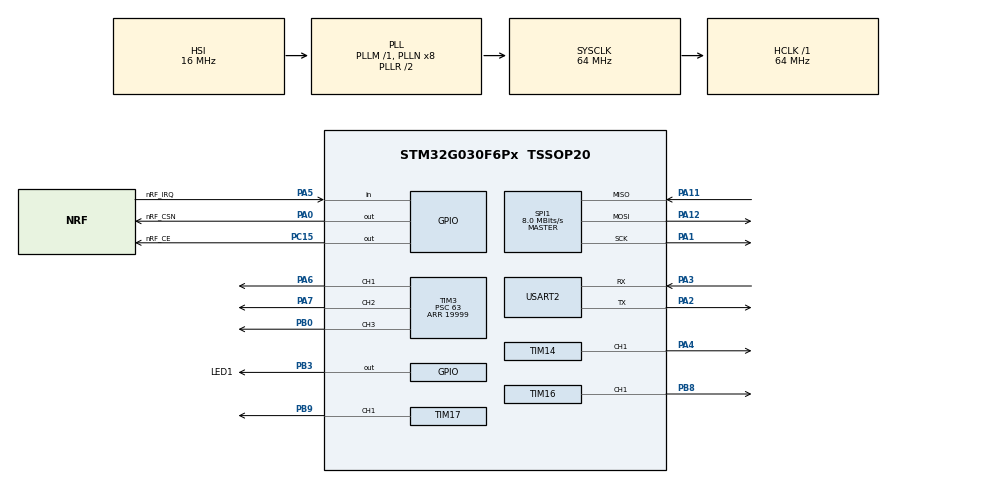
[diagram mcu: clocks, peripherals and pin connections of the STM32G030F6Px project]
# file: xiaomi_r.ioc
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Mcu.Family=STM32G0
Mcu.Name=STM32G030F6Px
Mcu.Package=TSSOP20
PA0.GPIO_Label=nRF_CSN
PA0.GPIO_PuPd=GPIO_PULLUP
PA0.Signal=GPIO_Output
PA1.Mode=Full_Duplex_Master
PA1.Signal=SPI1_SCK
PA11\ [PA9].Mode=Full_Duplex_Master
PA11\ [PA9].Signal=SPI1_MISO
PA12\ [PA10].Mode=Full_Duplex_Master
PA12\ [PA10].Signal=SPI1_MOSI
PA13.Mode=Serial_Wire
PA13.Signal=SYS_SWDIO
PA14-BOOT0.Mode=Serial_Wire
PA14-BOOT0.Signal=SYS_SWCLK
PA14-BOOT0__PA15.StandardMode=true
PA2.Mode=Asynchronous
PA2.Signal=USART2_TX
PA3.Mode=Asynchronous
PA3.Signal=USART2_RX
PA4.Signal=S_TIM14_CH1
PA5.GPIO_Label=nRF_IRQ
PA5.GPIO_PuPd=GPIO_PULLUP
PA5.Signal=GPIO_Input
PA6.Signal=S_TIM3_CH1
PA7.Signal=S_TIM3_CH2
PB0.Signal=S_TIM3_CH3
PB0__PB1__PB2__PA8.StandardMode=true
PB3.GPIO_Label=LED1
PB3.GPIO_PuPd=GPIO_PULLUP
PB3.Signal=GPIO_Output
PB3__PB4__PB5__PB6.StandardMode=true
PB7__PB8.StandardMode=true
PB8.Signal=S_TIM16_CH1
PB9.Signal=S_TIM17_CH1
PC14-OSC32_IN\ (PC14)__PB9.StandardMode=true
PC15-OSC32_OUT\ (PC15).GPIO_Label=nRF_CE
PC15-OSC32_OUT\ (PC15).GPIO_PuPd=GPIO_PULLUP
PC15-OSC32_OUT\ (PC15).Signal=GPIO_Output
ProjectManager.HeapSize=0x200
ProjectManager.StackSize=0x400
ProjectManager.TargetToolchain=MDK-ARM V5.27
RCC.ADCFreq_Value=64000000
RCC.AHBFreq_Value=64000000
RCC.CortexFreq_Value=64000000
RCC.EXTERNAL_CLOCK_VALUE=12288000
RCC.HCLKFreq_Value=64000000
RCC.HSE_VALUE=8000000
RCC.HSI_VALUE=16000000
RCC.LSE_VALUE=32768
RCC.SYSCLKFreq_VALUE=64000000
RCC.SYSCLKSource=RCC_SYSCLKSOURCE_PLLCLK
RCC.VCOOutputFreq_Value=128000000
SH.S_TIM14_CH1.0=TIM14_CH1,PWM Generation1 CH1
SH.S_TIM16_CH1.0=TIM16_CH1,PWM Generation1 CH1
SH.S_TIM17_CH1.0=TIM17_CH1,PWM Generation1 CH1
SH.S_TIM3_CH1.0=TIM3_CH1,PWM Generation1 CH1
SH.S_TIM3_CH2.0=TIM3_CH2,PWM Generation2 CH2
SH.S_TIM3_CH3.0=TIM3_CH3,PWM Generation3 CH3
SPI1.BaudRatePrescaler=SPI_BAUDRATEPRESCALER_8
SPI1.CalculateBaudRate=8.0 MBits/s
SPI1.Direction=SPI_DIRECTION_2LINES
SPI1.Mode=SPI_MODE_MASTER
SPI1.VirtualType=VM_MASTER
TIM1.AutoReloadPreload=TIM_AUTORELOAD_PRELOAD_ENABLE
TIM1.Period=9999
TIM1.Prescaler=63
TIM14.AutoReloadPreload=TIM_AUTORELOAD_PRELOAD_ENABLE
TIM14.Channel=TIM_CHANNEL_1
TIM14.Period=19999
TIM14.Prescaler=63
TIM14.Pulse=1000
TIM16.AutoReloadPreload=TIM_AUTORELOAD_PRELOAD_ENABLE
TIM16.Channel=TIM_CHANNEL_1
TIM16.Period=19999
TIM16.Prescaler=63
TIM16.Pulse=1000
TIM17.AutoReloadPreload=TIM_AUTORELOAD_PRELOAD_ENABLE
TIM17.Channel=TIM_CHANNEL_1
TIM17.Period=19999
TIM17.Prescaler=63
TIM17.Pulse=1000
TIM3.AutoReloadPreload=TIM_AUTORELOAD_PRELOAD_ENABLE
TIM3.Channel-PWM\ Generation1\ CH1=TIM_CHANNEL_1
TIM3.Channel-PWM\ Generation2\ CH2=TIM_CHANNEL_2
TIM3.Channel-PWM\ Generation3\ CH3=TIM_CHANNEL_3
TIM3.Period=19999
TIM3.Prescaler=63
TIM3.Pulse-PWM\ Generation1\ CH1=1000
TIM3.Pulse-PWM\ Generation2\ CH2=1000
TIM3.Pulse-PWM\ Generation3\ CH3=1000
USART2.VirtualMode-Asynchronous=VM_ASYNC
VP_TIM14_VS_ClockSourceINT.Mode=Enable_Timer
VP_TIM16_VS_ClockSourceINT.Mode=Enable_Timer
VP_TIM17_VS_ClockSourceINT.Mode=Enable_Timer
VP_TIM1_VS_ClockSourceINT.Mode=Internal
board=custom

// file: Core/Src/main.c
/* USER CODE BEGIN Header */
/**
  ******************************************************************************
  * @file           : main.c
  * @brief          : Main program body
  ******************************************************************************
  * @attention
  *
  * Copyright (c) 2022 STMicroelectronics.
  * All rights reserved.
  *
  * This software is licensed under terms that can be found in the LICENSE file
  * in the root directory of this software component.
  * If no LICENSE file comes with this software, it is provided AS-IS.
  *
  ******************************************************************************
  */
/* USER CODE END Header */
#include "main.h"
#include "spi.h"
#include "tim.h"
#include "usart.h"
#include "gpio.h"

/* USER CODE BEGIN PTD */
#include "stdio.h"
#include "stdarg.h"
#include "string.h"
#include "nRF24L01.h"
#include "Remote.h"
/* USER CODE END PTD */

/* USER CODE BEGIN PD */

uint8_t  tmp_buf[32] = {0};
uint8_t  temp1 = 4;
/* USER CODE END PD */

void SystemClock_Config(void);

int main(void)
{

  /* MCU Configuration--------------------------------------------------------*/

  /* Reset of all peripherals, Initializes the Flash interface and the Systick. */
  HAL_Init();

  /* Configure the system clock */
  SystemClock_Config();

  /* Initialize all configured peripherals */
  MX_GPIO_Init();
  MX_SPI1_Init();
  MX_TIM3_Init();
  MX_TIM14_Init();
  MX_TIM16_Init();
  MX_TIM17_Init();
  MX_USART2_UART_Init();
  MX_TIM1_Init();
  /* USER CODE BEGIN 2 */

  HAL_Delay(50);
  NRF24L01_Init();
  	HAL_Delay(50);
  while(NRF24L01_Check())
	{
		printf("硬件查寻不到NRF24L01无线模块\n");
 		HAL_Delay(1000);
	}
		HAL_Delay(50);
	printf("NRF24L01无线模块硬件连接正常\n");
	HAL_Delay(50);
	NRF24L01_RX_Mode();
  printf("进入数据接收模式\n");
  HAL_Delay(50);

  HAL_TIM_PWM_Start(&htim3,TIM_CHANNEL_1);
  HAL_TIM_PWM_Start(&htim3,TIM_CHANNEL_2);
  HAL_TIM_PWM_Start(&htim3,TIM_CHANNEL_3);
 //  __HAL_TIM_SetCompare(&htim3, TIM_CHANNEL_1, 1500);
  HAL_TIM_PWM_Start(&htim14,TIM_CHANNEL_1);
  HAL_TIM_PWM_Start(&htim16,TIM_CHANNEL_1);
  HAL_TIM_PWM_Start(&htim17,TIM_CHANNEL_1);

  __HAL_TIM_SetCompare(&htim3, TIM_CHANNEL_1,  1000);
  __HAL_TIM_SetCompare(&htim3, TIM_CHANNEL_2,  1000);
  __HAL_TIM_SetCompare(&htim3, TIM_CHANNEL_3,  1000);
  __HAL_TIM_SetCompare(&htim14, TIM_CHANNEL_1, 1000);
  __HAL_TIM_SetCompare(&htim16, TIM_CHANNEL_1, 1000);
  __HAL_TIM_SetCompare(&htim17, TIM_CHANNEL_1, 1000);
//
//  HAL_Delay(1000);

//  HAL_Delay(500);
  /* USER CODE END 2 */

  /* Infinite loop */
  /* USER CODE BEGIN WHILE */
  int16_t tarx=0,tary=0;
  int16_t speed1=0,speed2=0;
  while (1)
  {

		if( Remote_Receive())
    {
      tarx=Remote.ch4 -1500;
      tary=Remote.ch5 -1500;

      speed1=(tary+tarx)*2;
      speed1=speed1>=1000?1000:speed1;
      speed1=speed1<=100?0:speed1;

      speed2=(tary-tarx)*2;
      speed2=speed2>=1000?1000:speed2;
      speed2=speed2<=100?0:speed2;

      __HAL_TIM_SetCompare(&htim3, TIM_CHANNEL_2,  Remote.ch1);//1

      __HAL_TIM_SetCompare(&htim14, TIM_CHANNEL_1, Remote.ch2);
      __HAL_TIM_SetCompare(&htim3, TIM_CHANNEL_1,  Remote.ch3);

      __HAL_TIM_SetCompare(&htim3, TIM_CHANNEL_3,  speed1+1000);
      __HAL_TIM_SetCompare(&htim16, TIM_CHANNEL_1, speed2+1000);
      __HAL_TIM_SetCompare(&htim17, TIM_CHANNEL_1, Remote.ch6);
		 // printf("ch1:%d\t ch2:%d\t ch3:%d\t ch4:%d\t ch5:%d\t ch6:%d KeyL:%d  KeyR:%d\r\n",Remote.ch1,Remote.ch2,speed1,speed2,Remote.ch5,Remote.ch6,Remote.KeyStatusL,Remote.KeyStatusR);
      printf("d:%d, %d, %d, %d, %d, %d \r\n",Remote.ch1,Remote.ch2,Remote.ch3, Remote.ch4,Remote.ch5,Remote.ch6);
		  //HAL_GPIO_TogglePin(LED1_GPIO_Port,LED1_Pin);
      HAL_GPIO_WritePin(LED1_GPIO_Port,LED1_Pin,GPIO_PIN_SET);
    }
    else
    {
      HAL_GPIO_WritePin(LED1_GPIO_Port,LED1_Pin,GPIO_PIN_RESET);
    }
    HAL_Delay(5);
//      __HAL_TIM_SetCompare(&htim3, TIM_CHANNEL_1, 1200);
//      __HAL_TIM_SetCompare(&htim3, TIM_CHANNEL_2, 1200);
//      __HAL_TIM_SetCompare(&htim3, TIM_CHANNEL_3, 1200);
//      __HAL_TIM_SetCompare(&htim14, TIM_CHANNEL_1, 1200);
//      __HAL_TIM_SetCompare(&htim16, TIM_CHANNEL_1, 1200);
//      __HAL_TIM_SetCompare(&htim17, TIM_CHANNEL_1, 1200);
//    HAL_Delay(1000);
//      __HAL_TIM_SetCompare(&htim3, TIM_CHANNEL_1, 1800);
//      __HAL_TIM_SetCompare(&htim3, TIM_CHANNEL_2, 1800);
//      __HAL_TIM_SetCompare(&htim3, TIM_CHANNEL_3, 1800);
//      __HAL_TIM_SetCompare(&htim14, TIM_CHANNEL_1, 1800);
//      __HAL_TIM_SetCompare(&htim16, TIM_CHANNEL_1, 1800);
//      __HAL_TIM_SetCompare(&htim17, TIM_CHANNEL_1, 1800);
//    HAL_Delay(1000);
//
//     printf("test\r\n");
//
//     HAL_Delay(100);

//    if(NRF24L01_RxPacket(tmp_buf) == 0)
//		{
//			unsigned char i;
//			for(i=0;i<22;i++)
//			printf(" %x",tmp_buf[i]);
//
//			printf("\r\n");
//		}
//

    /* USER CODE END WHILE */

  }
}

void SystemClock_Config(void)
{
  RCC_OscInitTypeDef RCC_OscInitStruct = {0};
  RCC_ClkInitTypeDef RCC_ClkInitStruct = {0};

  /** Configure the main internal regulator output voltage
  */
  HAL_PWREx_ControlVoltageScaling(PWR_REGULATOR_VOLTAGE_SCALE1);

  /** Initializes the RCC Oscillators according to the specified parameters
  * in the RCC_OscInitTypeDef structure.
  */
  RCC_OscInitStruct.OscillatorType = RCC_OSCILLATORTYPE_HSI;
  RCC_OscInitStruct.HSIState = RCC_HSI_ON;
  RCC_OscInitStruct.HSIDiv = RCC_HSI_DIV1;
  RCC_OscInitStruct.HSICalibrationValue = RCC_HSICALIBRATION_DEFAULT;
  RCC_OscInitStruct.PLL.PLLState = RCC_PLL_ON;
  RCC_OscInitStruct.PLL.PLLSource = RCC_PLLSOURCE_HSI;
  RCC_OscInitStruct.PLL.PLLM = RCC_PLLM_DIV1;
  RCC_OscInitStruct.PLL.PLLN = 8;
  RCC_OscInitStruct.PLL.PLLP = RCC_PLLP_DIV2;
  RCC_OscInitStruct.PLL.PLLR = RCC_PLLR_DIV2;
  if (HAL_RCC_OscConfig(&RCC_OscInitStruct) != HAL_OK)
  {
    Error_Handler();
  }

  /** Initializes the CPU, AHB and APB buses clocks
  */
  RCC_ClkInitStruct.ClockType = RCC_CLOCKTYPE_HCLK|RCC_CLOCKTYPE_SYSCLK
                              |RCC_CLOCKTYPE_PCLK1;
  RCC_ClkInitStruct.SYSCLKSource = RCC_SYSCLKSOURCE_PLLCLK;
  RCC_ClkInitStruct.AHBCLKDivider = RCC_SYSCLK_DIV1;
  RCC_ClkInitStruct.APB1CLKDivider = RCC_HCLK_DIV1;

  if (HAL_RCC_ClockConfig(&RCC_ClkInitStruct, FLASH_LATENCY_2) != HAL_OK)
  {
    Error_Handler();
  }
}

void Error_Handler(void)
{
  __disable_irq();
  while (1)
  {
  }
}
